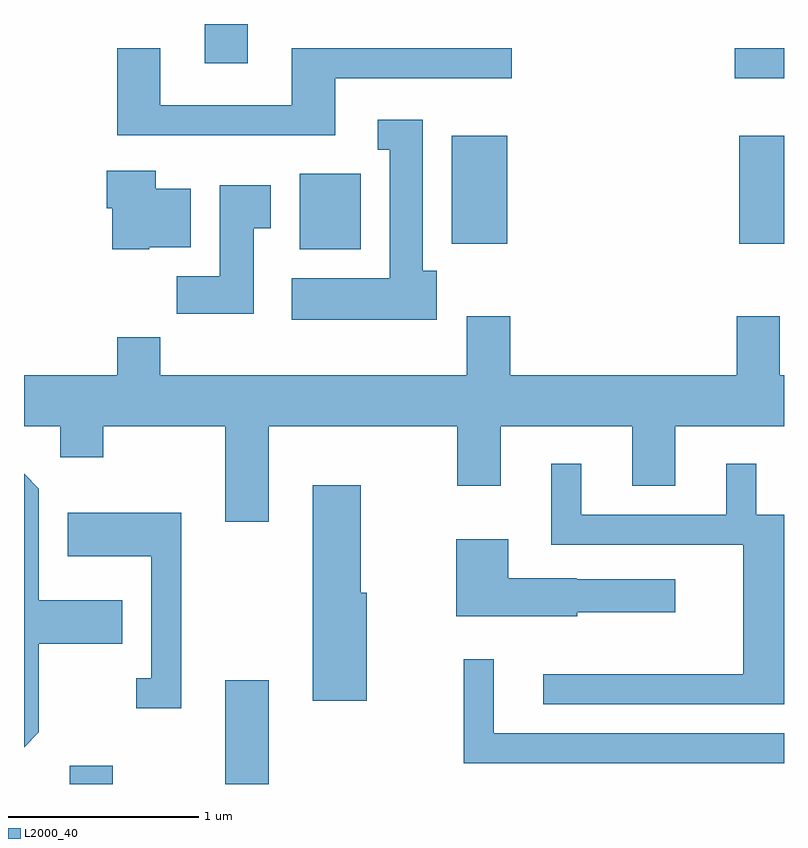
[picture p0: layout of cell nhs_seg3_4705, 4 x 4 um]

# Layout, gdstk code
import gdstk
lib = gdstk.Library(unit=1e-6, precision=1e-09)
def R(c, l, rs):  # rectangles x0, y0, x1, y1
    for r in rs: c.add(gdstk.rectangle(r[:2], r[2:], *l))
def P(c, l, *ps):  # polygons
    for p in ps: c.add(gdstk.Polygon(p, *l))
L2000_40 = (2000, 40)

nhs_seg3_4705 = lib.new_cell('nhs_seg3_4705')
R(nhs_seg3_4705, L2000_40, [(323.851,1141.892,324.079,1141.989), (324.671,1141.892,324.899,1142.439), (325.061,1144.706,325.384,1145.104), (325.861,1144.736,326.154,1145.304), (327.376,1144.736,327.611,1145.304), (327.353,1145.606,327.611,1145.764), (324.561,1145.686,324.789,1145.892)])
P(nhs_seg3_4705, L2000_40, [(325.249,1145.606),(326.178,1145.606),(326.178,1145.764),(325.021,1145.764),(325.021,1145.464),(324.329,1145.464),(324.329,1145.764),(324.101,1145.764),(324.101,1145.306),(325.249,1145.306)],
  [(325.784,1144.594),(325.709,1144.594),(325.709,1145.389),(325.473,1145.389),(325.473,1145.231),(325.536,1145.231),(325.536,1144.554),(325.021,1144.554),(325.021,1144.336),(325.784,1144.336)],
  [(324.27,1144.716),(324.489,1144.716),(324.489,1145.024),(324.304,1145.024),(324.304,1145.119),(324.046,1145.119),(324.046,1144.921),(324.076,1144.921),(324.076,1144.706),(324.27,1144.706)],
  [(324.819,1144.816),(324.909,1144.816),(324.909,1145.044),(324.641,1145.044),(324.641,1144.564),(324.416,1144.564),(324.416,1144.366),(324.819,1144.366)],
  [(324.899,1143.776),(325.891,1143.776),(325.891,1143.461),(326.119,1143.461),(326.119,1143.776),(326.811,1143.776),(326.811,1143.461),(327.039,1143.461),(327.039,1143.776),(327.611,1143.776),(327.611,1144.044),(327.589,1144.044),(327.589,1144.354),(327.361,1144.354),(327.361,1144.044),(326.169,1144.044),(326.169,1144.354),(325.941,1144.354),(325.941,1144.044),(324.329,1144.044),(324.329,1144.244),(324.101,1144.244),(324.101,1144.044),(323.611,1144.044),(323.611,1143.776),(323.801,1143.776),(323.801,1143.611),(324.029,1143.611),(324.029,1143.776),(324.671,1143.776),(324.671,1143.271),(324.899,1143.271)],
  [(327.611,1143.309),(327.464,1143.309),(327.464,1143.578),(327.306,1143.578),(327.306,1143.309),(326.544,1143.309),(326.544,1143.578),(326.386,1143.578),(326.386,1143.151),(327.396,1143.151),(327.396,1142.469),(326.343,1142.469),(326.343,1142.311),(327.611,1142.311)],
  [(323.689,1142.164),(323.689,1142.631),(324.129,1142.631),(324.129,1142.859),(323.689,1142.859),(323.689,1143.447),(323.611,1143.525),(323.611,1142.086)],
  [(325.414,1142.899),(325.384,1142.899),(325.384,1143.464),(325.131,1143.464),(325.131,1142.331),(325.414,1142.331)],
  [(324.439,1143.319),(323.841,1143.319),(323.841,1143.091),(324.281,1143.091),(324.281,1142.449),(324.203,1142.449),(324.203,1142.291),(324.439,1142.291)],
  [(326.524,1142.796),(327.039,1142.796),(327.039,1142.969),(326.52,1142.969),(326.52,1142.974),(326.159,1142.974),(326.159,1143.179),(325.886,1143.179),(325.886,1142.776),(326.524,1142.776)],
  [(327.611,1142.159),(326.084,1142.159),(326.084,1142.548),(325.926,1142.548),(325.926,1142.001),(327.611,1142.001)])

lib.write_gds('nhs_seg3_4705.gds')
